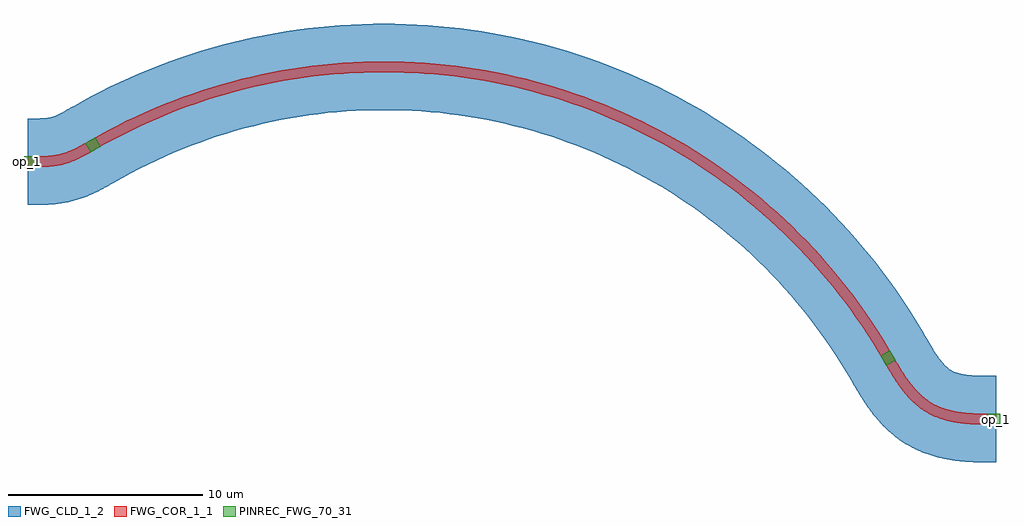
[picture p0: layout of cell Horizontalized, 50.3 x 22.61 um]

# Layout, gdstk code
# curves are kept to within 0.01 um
import gdstk
lib = gdstk.Library(unit=1e-6, precision=1e-09)
def R(c, l, rs):  # rectangles x0, y0, x1, y1
    for r in rs: c.add(gdstk.rectangle(r[:2], r[2:], *l))
def P(c, l, *ps):  # polygons
    for p in ps: c.add(gdstk.Polygon(p, *l))
FWG_COR_1_1 = (1, 1)
FWG_CLD_1_2 = (1, 2)
PINREC_FWG_70_31 = (70, 31)

wg_x4 = lib.new_cell('wg_x4')
P(wg_x4, FWG_COR_1_1, [(25.743,14.863),(24.929,16.189),(24.048,17.472),(23.424,18.301),(22.434,19.501),(21.382,20.649),(20.649,21.382),(19.501,22.434),(18.301,23.424),(17.05,24.349),(15.752,25.208),(14.411,25.998),(13.031,26.717),(11.614,27.362),(10.652,27.751),(9.186,28.27),(7.693,28.712),(6.18,29.075),(4.65,29.359),(3.107,29.562),(2.074,29.653),(1.037,29.707),(-0.519,29.72),(-2.074,29.653),(-3.107,29.562),(-4.65,29.359),(-6.18,29.075),(-7.693,28.712),(-9.186,28.27),(-10.652,27.751),(-12.09,27.155),(-13.495,26.485),(-14.862,25.743),(-15.137,26.219),(-13.745,26.975),(-12.314,27.658),(-11.341,28.071),(-9.857,28.626),(-8.345,29.102),(-6.81,29.499),(-5.257,29.815),(-3.69,30.049),(-2.112,30.201),(-1.057,30.257),(-0.528,30.27),(1.057,30.257),(2.639,30.16),(4.213,29.98),(5.777,29.719),(7.324,29.376),(8.345,29.102),(9.857,28.626),(11.341,28.071),(12.314,27.658),(13.745,26.975),(15.138,26.219),(16.489,25.391),(17.795,24.493),(19.053,23.528),(20.258,22.499),(21.408,21.408),(22.499,20.258),(23.192,19.46),(23.857,18.639),(24.493,17.795),(25.099,16.93),(25.675,16.043),(26.219,15.138)])
P(wg_x4, FWG_CLD_1_2, [(24.054,13.888),(23.294,15.127),(22.752,15.931),(21.887,17.1),(21.277,17.853),(20.641,18.585),(19.64,19.64),(18.585,20.641),(17.853,21.277),(17.1,21.887),(15.931,22.752),(15.127,23.294),(13.887,24.054),(12.61,24.748),(11.738,25.173),(10.405,25.752),(9.043,26.262),(8.121,26.561),(7.189,26.829),(5.775,27.168),(4.345,27.433),(2.903,27.623),(1.454,27.737),(0,27.775),(-1.454,27.737),(-2.903,27.623),(-4.345,27.433),(-5.775,27.168),(-7.189,26.829),(-8.583,26.416),(-9.954,25.93),(-11.297,25.374),(-12.61,24.748),(-13.887,24.054),(-16.112,27.908),(-14.63,28.713),(-14.127,28.964),(-13.107,29.439),(-12.072,29.879),(-11.548,30.085),(-11.022,30.282),(-9.958,30.648),(-8.882,30.977),(-8.34,31.127),(-7.796,31.268),(-6.7,31.521),(-5.596,31.736),(-5.041,31.828),(-3.368,32.049),(-2.248,32.147),(-1.687,32.181),(0,32.225),(1.687,32.181),(2.248,32.147),(3.368,32.049),(5.041,31.828),(5.596,31.736),(6.7,31.521),(7.796,31.268),(8.882,30.977),(9.958,30.648),(10.491,30.469),(11.548,30.085),(12.591,29.663),(13.619,29.206),(14.63,28.713),(15.623,28.185),(16.597,27.622),(17.551,27.026),(18.484,26.397),(19.394,25.736),(20.28,25.044),(21.142,24.321),(21.977,23.568),(22.787,22.787),(23.568,21.977),(24.321,21.142),(25.044,20.28),(25.736,19.394),(26.716,18.02),(27.328,17.077),(27.908,16.113)])
P(wg_x4, PINREC_FWG_70_31, [(26.069,15.397),(25.593,15.122),(25.743,14.863),(26.219,15.138)],
  [(-14.603,25.893),(-14.878,26.369),(-15.137,26.219),(-14.862,25.743)])
wg_x4.add(gdstk.Label('op_0', (25.981,15), layer=70, texttype=41))
wg_x4.add(gdstk.Label('op_1', (-15,25.981), layer=70, texttype=41))

bendcircular = lib.new_cell('BendCircular')
P(bendcircular, PINREC_FWG_70_31, [(26.069,15.397),(25.593,15.122),(25.743,14.863),(26.219,15.138)],
  [(-14.603,25.893),(-14.878,26.369),(-15.137,26.219),(-14.862,25.743)])
bendcircular.add(gdstk.Reference(wg_x4, (0,0)))
bendcircular.add(gdstk.Label('op_0', (25.981,15), layer=70, texttype=41))
bendcircular.add(gdstk.Label('op_1', (-15,25.981), layer=70, texttype=41))

c_wg = lib.new_cell('wg')
P(c_wg, FWG_COR_1_1, [(26.219,15.138),(26.751,14.245),(27.183,13.635),(27.386,13.393),(27.602,13.168),(27.873,12.928),(28.078,12.776),(28.383,12.593),(28.708,12.446),(29.051,12.331),(29.406,12.246),(29.823,12.18),(30.248,12.142),(31.449,12.118),(31.449,11.568),(30.214,11.593),(29.757,11.634),(29.242,11.718),(28.844,11.819),(28.453,11.956),(28.075,12.134),(27.768,12.322),(27.483,12.536),(27.219,12.773),(27.015,12.983),(26.752,13.293),(26.288,13.948),(25.743,14.863)])
P(c_wg, FWG_CLD_1_2, [(27.908,16.113),(28.321,15.411),(28.667,14.902),(28.96,14.567),(29.127,14.423),(29.254,14.339),(29.439,14.254),(29.638,14.192),(30.057,14.116),(30.589,14.077),(31.449,14.068),(31.449,9.618),(30.683,9.623),(30.091,9.647),(29.596,9.69),(28.997,9.779),(28.447,9.904),(27.963,10.056),(27.554,10.219),(27.062,10.466),(26.595,10.762),(26.242,11.032),(25.861,11.373),(25.471,11.785),(25.131,12.201),(24.835,12.611),(24.507,13.118),(24.054,13.888)])
R(c_wg, PINREC_FWG_70_31, [(31.149,11.568,31.449,12.118)])
P(c_wg, PINREC_FWG_70_31, [(25.893,14.603),(26.369,14.878),(26.219,15.138),(25.743,14.863)])
c_wg.add(gdstk.Label('op_0', (25.981,15), layer=70, texttype=41))
c_wg.add(gdstk.Label('op_1', (31.449,11.843), layer=70, texttype=41))

bendeuler = lib.new_cell('BendEuler')
R(bendeuler, PINREC_FWG_70_31, [(31.149,11.568,31.449,12.118)])
P(bendeuler, PINREC_FWG_70_31, [(25.893,14.603),(26.369,14.878),(26.219,15.138),(25.743,14.863)])
bendeuler.add(gdstk.Reference(c_wg, (0,0)))
bendeuler.add(gdstk.Label('op_0', (25.981,15), layer=70, texttype=41))
bendeuler.add(gdstk.Label('op_1', (31.449,11.843), layer=70, texttype=41))

wg_x3 = lib.new_cell('wg_x3')
R(wg_x3, FWG_COR_1_1, [(31.449,11.568,31.549,12.118)])
P(wg_x3, FWG_CLD_1_2, [(31.449,14.068),(31.549,14.068),(31.549,12.118),(31.549,11.568),(31.549,9.618),(31.449,9.618),(31.449,11.568),(31.449,12.118)])
R(wg_x3, PINREC_FWG_70_31, [(31.249,11.568,31.549,12.118), (31.449,11.568,31.749,12.118)])
wg_x3.add(gdstk.Label('op_0', (31.449,11.843), layer=70, texttype=41))
wg_x3.add(gdstk.Label('op_1', (31.549,11.843), layer=70, texttype=41))

straight_s = lib.new_cell('Straight_s')
R(straight_s, PINREC_FWG_70_31, [(31.249,11.568,31.549,12.118), (31.449,11.568,31.749,12.118)])
straight_s.add(gdstk.Reference(wg_x3, (0,0)))
straight_s.add(gdstk.Label('op_0', (31.449,11.843), layer=70, texttype=41))
straight_s.add(gdstk.Label('op_1', (31.549,11.843), layer=70, texttype=41))

wg_x1 = lib.new_cell('wg_x1')
P(wg_x1, FWG_COR_1_1, [(-14.862,25.743),(-15.342,25.47),(-15.743,25.264),(-16.114,25.105),(-16.449,24.995),(-16.85,24.908),(-17.194,24.865),(-17.646,24.839),(-18.252,24.834),(-18.252,25.384),(-17.295,25.408),(-16.939,25.451),(-16.643,25.513),(-16.261,25.638),(-15.932,25.783),(-15.137,26.219)])
P(wg_x1, FWG_CLD_1_2, [(-13.887,24.054),(-14.523,23.696),(-14.978,23.469),(-15.425,23.281),(-16.017,23.092),(-16.451,22.998),(-17.016,22.923),(-17.523,22.892),(-18.252,22.884),(-18.252,27.334),(-17.487,27.349),(-17.132,27.4),(-16.813,27.523),(-16.112,27.908)])
R(wg_x1, PINREC_FWG_70_31, [(-18.252,24.834,-17.952,25.384)])
P(wg_x1, PINREC_FWG_70_31, [(-15.397,26.069),(-15.122,25.593),(-14.862,25.743),(-15.137,26.219)])
wg_x1.add(gdstk.Label('op_0', (-15,25.981), layer=70, texttype=41))
wg_x1.add(gdstk.Label('op_1', (-18.252,25.109), layer=70, texttype=41))

bendeuler_x1 = lib.new_cell('BendEuler_x1')
R(bendeuler_x1, PINREC_FWG_70_31, [(-18.252,24.834,-17.952,25.384)])
P(bendeuler_x1, PINREC_FWG_70_31, [(-15.397,26.069),(-15.122,25.593),(-14.862,25.743),(-15.137,26.219)])
bendeuler_x1.add(gdstk.Reference(wg_x1, (0,0)))
bendeuler_x1.add(gdstk.Label('op_0', (-15,25.981), layer=70, texttype=41))
bendeuler_x1.add(gdstk.Label('op_1', (-18.252,25.109), layer=70, texttype=41))

wg_x2 = lib.new_cell('wg_x2')
R(wg_x2, FWG_COR_1_1, [(-18.352,24.834,-18.252,25.384)])
P(wg_x2, FWG_CLD_1_2, [(-18.252,22.884),(-18.352,22.884),(-18.352,24.834),(-18.352,25.384),(-18.352,27.334),(-18.252,27.334),(-18.252,25.384),(-18.252,24.834)])
R(wg_x2, PINREC_FWG_70_31, [(-18.552,24.834,-18.252,25.384), (-18.352,24.834,-18.052,25.384)])
wg_x2.add(gdstk.Label('op_0', (-18.252,25.109), layer=70, texttype=41))
wg_x2.add(gdstk.Label('op_1', (-18.352,25.109), layer=70, texttype=41))

straight_s_x1 = lib.new_cell('Straight_s_x1')
R(straight_s_x1, PINREC_FWG_70_31, [(-18.552,24.834,-18.252,25.384), (-18.352,24.834,-18.052,25.384)])
straight_s_x1.add(gdstk.Reference(wg_x2, (0,0)))
straight_s_x1.add(gdstk.Label('op_0', (-18.252,25.109), layer=70, texttype=41))
straight_s_x1.add(gdstk.Label('op_1', (-18.352,25.109), layer=70, texttype=41))

horizontalized = lib.new_cell('Horizontalized')
R(horizontalized, PINREC_FWG_70_31, [(31.249,11.568,31.549,12.118), (-18.352,24.834,-18.052,25.384)])
horizontalized.add(gdstk.Reference(bendcircular, (0,0)))
horizontalized.add(gdstk.Reference(bendeuler, (0,0)))
horizontalized.add(gdstk.Reference(straight_s, (0,0)))
horizontalized.add(gdstk.Reference(bendeuler_x1, (0,0)))
horizontalized.add(gdstk.Reference(straight_s_x1, (0,0)))
horizontalized.add(gdstk.Label('op_1', (31.549,11.843), layer=70, texttype=41))
horizontalized.add(gdstk.Label('op_1', (-18.352,25.109), layer=70, texttype=41))

lib.write_gds('Horizontalized.gds')
